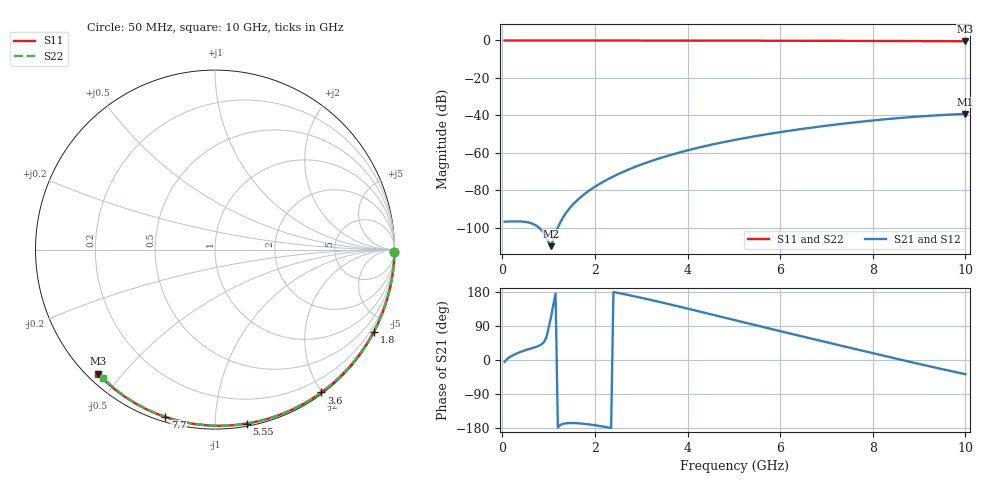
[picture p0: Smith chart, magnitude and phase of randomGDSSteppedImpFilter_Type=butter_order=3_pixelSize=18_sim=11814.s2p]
! freq	dB(S11)	phase(S11)	dB(S12)	phase(S12)
!  dB(S21)	phase(S21)	dB(S22)	phase(S22)
!S-par simulation data
#  GHz  S  DB  R 50
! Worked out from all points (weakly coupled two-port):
!   200 points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, 50 MHz to 10 GHz, reference 50 ohm
!   highest |S21| = -39.22 dB at 10 GHz (marker M1); lowest = -109.9 dB at 1.05 GHz (marker M2)
!   lowest |S11| = -0.4 dB at 10 GHz (marker M3), VSWR 39.43, Z = 1.5 - j21.5 ohm
!   |S11| at or under -10 dB: nowhere
!   |S22| runs from -0.5 to 0.0 dB; largest |S21 - S12| = 0
!   S11 on the Smith chart (normalised r, x): 50 MHz: open; 1.8 GHz: 0.04, -4.12; 3.6 GHz: 0.02, -1.99; 5.55 GHz: 0.02, -1.20; 7.7 GHz: 0.02, -0.75; 10 GHz: 0.03, -0.43
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0.05  -0.00 -0.8  -96.84 -4.9  -96.84 -4.9  -0.00 -0.8
0.55  -0.01 -8.4  -97.19 27.8  -97.19 27.8  -0.01 -8.3
1.05  -0.02 -16.0  -109.92 111.7  -109.92 111.7  -0.02 -15.8
1.75  -0.03 -26.6  -82.57 -168.2  -82.57 -168.2  -0.03 -26.1
1.8  -0.03 -27.3  -81.60 -168.9  -81.60 -168.9  -0.03 -26.8
1.9  -0.04 -28.8  -79.81 -170.4  -79.81 -170.4  -0.04 -28.3
2.05  -0.04 -31.0  -77.39 -173.1  -77.39 -173.1  -0.04 -30.5
2.25  -0.04 -34.0  -74.54 -177.2  -74.54 -177.2  -0.04 -33.4
2.45  -0.05 -36.9  -72.03 178.2  -72.03 178.2  -0.05 -36.3
2.65  -0.05 -39.8  -69.77 173.3  -69.77 173.3  -0.05 -39.1
3  -0.06 -44.8  -66.32 164.2  -66.32 164.2  -0.06 -44.1
3.4  -0.07 -50.5  -62.94 153.1  -62.94 153.1  -0.07 -49.7
3.6  -0.07 -53.4  -61.43 147.4  -61.43 147.4  -0.07 -52.5
4.3  -0.09 -63.1  -56.90 126.8  -56.90 126.8  -0.09 -62.0
5.05  -0.11 -73.2  -52.99 104.4  -52.99 104.4  -0.11 -72.0
5.55  -0.13 -79.7  -50.78 89.5  -50.78 89.5  -0.13 -78.4
6.1  -0.15 -86.8  -48.61 73.2  -48.61 73.2  -0.15 -85.4
6.7  -0.18 -94.3  -46.51 55.7  -46.51 55.7  -0.18 -92.8
7.7  -0.24 -106.5  -43.52 26.7  -43.52 26.7  -0.24 -104.7
8.35  -0.29 -114.2  -41.93 8.0  -41.93 8.0  -0.29 -112.3
9.15  -0.36 -123.6  -40.37 -14.6  -40.37 -14.6  -0.36 -121.4
10  -0.44 -133.4  -39.22 -37.4  -39.22 -37.4  -0.45 -131.0
